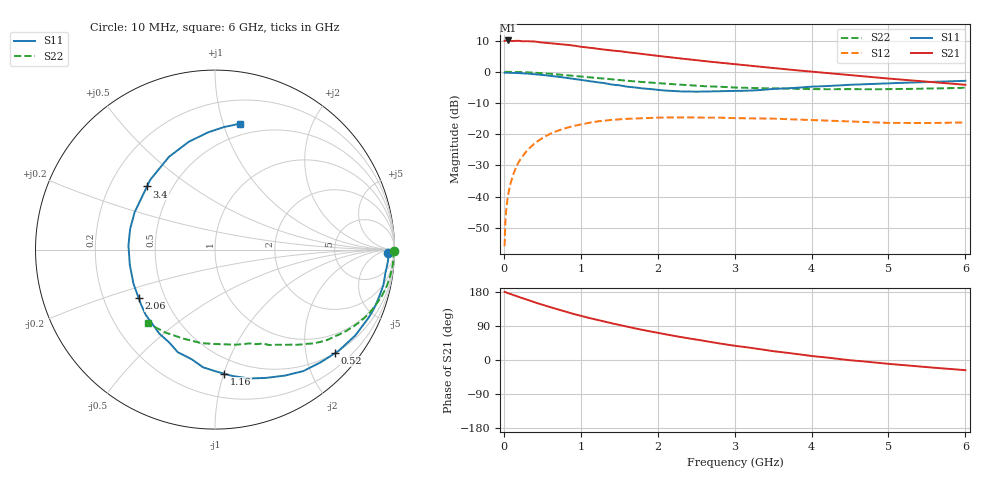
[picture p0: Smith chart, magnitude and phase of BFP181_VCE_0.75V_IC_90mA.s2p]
! Infineon Technologies  Discrete & RF Semiconductors
! BFP181
! VCE = 0.75V,  IC =  90 mA
! Common Emitter S-Parameters:  Jan 2016
# GHz  S  MA  R  50
!  f  S11  S21  S12  S22
! GHz  MAG  ANG  MAG  ANG  MAG  ANG  MAG  ANG
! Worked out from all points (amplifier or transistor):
!   210 points, 10 MHz to 6 GHz, reference 50 ohm
!   highest |S21| = 10.0 dB at 50 MHz (marker M1)
!   |S21| within 3 dB of that: start of sweep to 1.328 GHz
!   unconditionally stable (mu >= 1): 2.913 GHz to end of sweep
!   at 185 MHz: K = 0.08, MSG = 19.6 dB, |S12| = -29.3 dB
!   at 1.52 GHz: K = 0.56, MSG = 10.9 dB, |S12| = -15.2 dB
!   at 6 GHz: K = 1.44, MAG = 2.1 dB, |S12| = -16.3 dB
!   S11 on the Smith chart (normalised r, x): 10 MHz: 45, -22; 520 MHz: 0.50, -2.61; 1.16 GHz: 0.38, -1.00; 2.06 GHz: 0.35, -0.26; 3.4 GHz: 0.36, +0.35; 6 GHz: 0.40, +1.14
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0.01  0.9649 -1.0  3.123 179.7  0.0016 90.4  0.9973 -0.3
0.02  0.9669 -1.7  3.151 179.3  0.0039 87.0  0.9965 -0.8
0.03  0.9665 -2.4  3.158 178.4  0.0058 88.8  0.9959 -1.2
0.05  0.9661 -3.7  3.174 176.6  0.0095 90.3  0.9948 -2.0
0.115  0.9579 -9.2  3.107 172.1  0.0212 83.1  0.9943 -4.6
0.2  0.9518 -15.9  3.131 166.0  0.0369 79.3  0.9884 -8.0
0.4  0.9168 -31.4  3.057 152.3  0.0709 69.0  0.965 -15.6
0.52  0.8836 -40.7  2.924 144.5  0.0893 62.6  0.9431 -19.9
0.8  0.8016 -61.2  2.731 127.5  0.1244 50.1  0.8835 -28.9
1.02  0.7358 -76.5  2.502 115.6  0.145 41.2  0.8334 -34.9
1.16  0.6931 -85.9  2.391 108.5  0.1562 36.1  0.8053 -38.4
1.5  0.6078 -110.0  2.145 92.2  0.1722 25.9  0.7352 -45.5
1.8  0.5413 -130.3  1.926 79.5  0.1805 18.9  0.6846 -50.6
2.02  0.5097 -144.8  1.787 71.0  0.1846 14.1  0.6553 -54.0
2.06  0.5038 -147.5  1.762 69.5  0.1846 13.2  0.6497 -54.7
2.26  0.4869 -161.1  1.652 62.0  0.1851 9.2  0.6247 -58.1
2.6  0.4828 177.3  1.489 50.6  0.1832 3.9  0.5865 -63.1
3.1  0.4948 150.5  1.29 35.1  0.1797 -2.8  0.5542 -71.0
3.4  0.5171 137.1  1.181 26.5  0.1778 -5.5  0.5447 -75.9
4.1  0.5829 113.7  0.977 8.6  0.1667 -10.8  0.5261 -89.6
5.1  0.6594 91.8  0.76 -11.8  0.1512 -12.2  0.5271 -111.8
6  0.7159 78.7  0.618 -26.9  0.1538 -9.7  0.5547 -132.1
